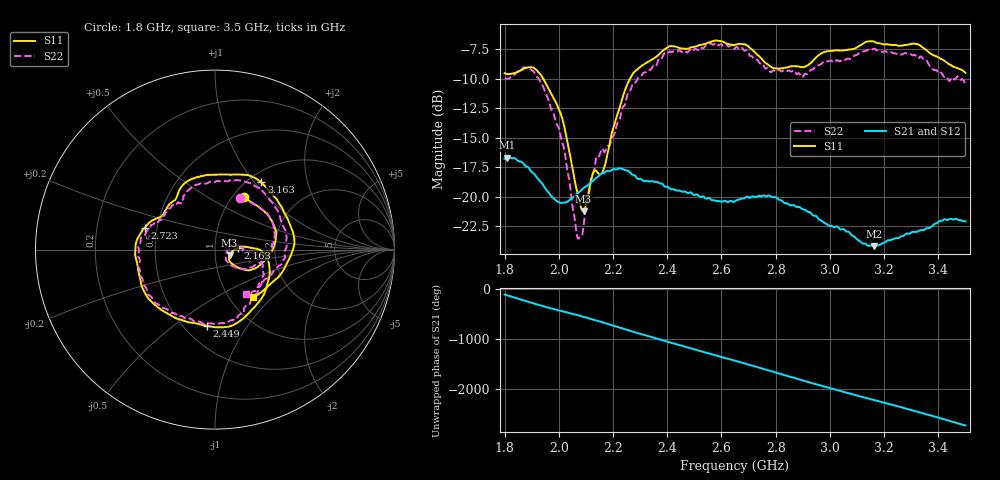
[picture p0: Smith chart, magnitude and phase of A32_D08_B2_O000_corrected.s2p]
! Created with skrf 1.9.0 (http://scikit-rf.org).
# Hz S RI R 50.0
!freq ReS11 ImS11 ReS21 ImS21 ReS12 ImS12 ReS22 ImS22
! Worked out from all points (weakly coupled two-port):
!   1601 points, 1.8 GHz to 3.5 GHz, reference 50 ohm
!   highest |S21| = -16.68 dB at 1.811 GHz (marker M1); lowest = -24.2 dB at 3.162 GHz (marker M2)
!   lowest |S11| = -21.2 dB at 2.091 GHz (marker M3), VSWR 1.19, Z = 58.7 - j3.75 ohm
!   |S11| at or under -10 dB: 1.943 GHz to 2.262 GHz (319 MHz wide, 15.2 % of centre)
!   |S22| runs from -23.5 to -6.9 dB; largest |S21 - S12| = 0.0028
!   S11 on the Smith chart (normalised r, x): 1.8 GHz: 1.12, +0.74; 2.163 GHz: 1.29, +0.03; 2.449 GHz: 0.64, -0.66; 2.723 GHz: 0.43, +0.13; 3.163 GHz: 1.15, +1.08; 3.5 GHz: 1.28, -0.76
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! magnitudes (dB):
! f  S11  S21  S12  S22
! 1.8 GHz  -9.5  -16.8  -16.8  -10.0
! 1.811 GHz  -9.6  -16.7  -16.7  -10.0
! 1.886 GHz  -9.0  -17.5  -17.5  -9.0
! 1.94 GHz  -9.9  -18.9  -18.9  -10.6
! 2.011 GHz  -13.3  -20.5  -20.5  -15.3
! 2.066 GHz  -19.4  -19.8  -19.8  -23.1
! 2.084 GHz  -21.0  -19.4  -19.4  -23.3
! 2.091 GHz  -21.2  -19.2  -19.3  -22.5
! 2.133 GHz  -17.7  -18.5  -18.5  -17.4
! 2.163 GHz  -17.8  -18.0  -17.9  -16.0
! 2.259 GHz  -10.1  -17.8  -17.9  -11.0
! 2.367 GHz  -8.0  -18.8  -18.7  -8.4
! 2.449 GHz  -7.4  -19.5  -19.5  -7.6
! 2.65 GHz  -7.1  -20.4  -20.3  -7.4
! 2.723 GHz  -7.7  -20.0  -19.9  -8.4
! 2.797 GHz  -9.1  -20.0  -20.0  -9.3
! 2.934 GHz  -8.5  -21.5  -21.4  -9.2
! 3.162 GHz  -6.8  -24.2  -24.1  -7.4
! 3.163 GHz  -6.8  -24.2  -24.1  -7.4
! 3.217 GHz  -7.1  -23.7  -23.6  -7.7
! 3.324 GHz  -7.1  -22.9  -22.9  -8.2
! 3.5 GHz  -9.5  -22.1  -22.1  -10.4
